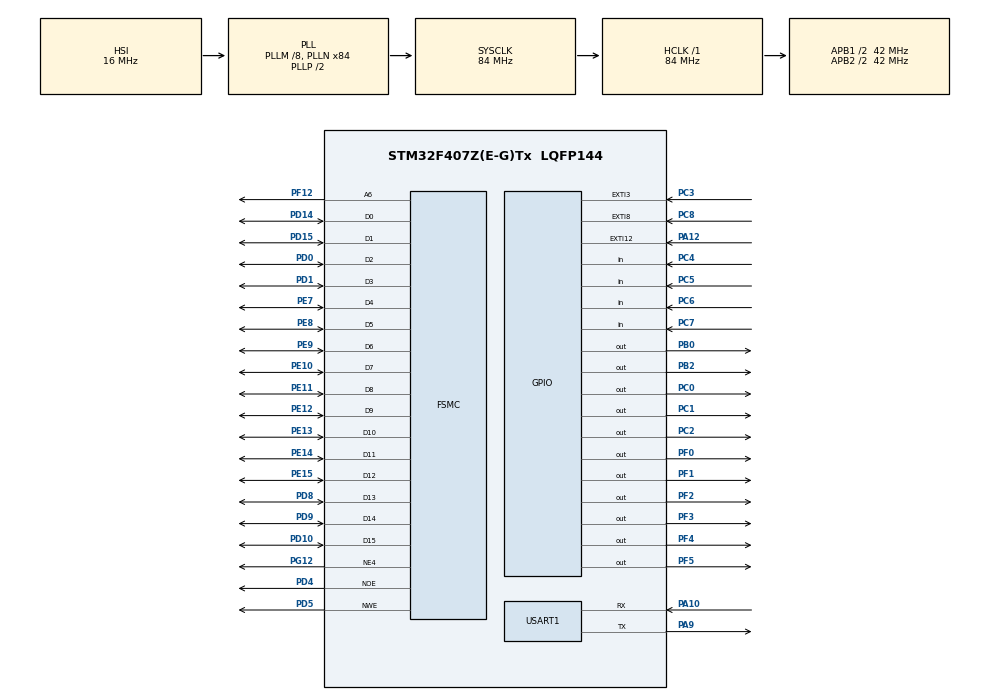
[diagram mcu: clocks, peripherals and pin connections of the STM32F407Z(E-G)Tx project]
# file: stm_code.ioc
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Mcu.Family=STM32F4
Mcu.Name=STM32F407Z(E-G)Tx
Mcu.Package=LQFP144
NVIC.EXTI15_10_IRQn=true\:0\:0\:false\:false\:true\:true\:true\:true
NVIC.EXTI3_IRQn=true\:0\:0\:false\:false\:true\:true\:true\:true
NVIC.EXTI9_5_IRQn=true\:0\:0\:false\:false\:true\:true\:true\:true
NVIC.PriorityGroup=NVIC_PRIORITYGROUP_4
NVIC.TIM4_IRQn=true\:0\:0\:false\:false\:true\:true\:true\:true
NVIC.USART1_IRQn=true\:0\:0\:false\:false\:true\:true\:true\:true
PA10.Mode=Asynchronous
PA10.Signal=USART1_RX
PA12.Signal=GPXTI12
PA9.Mode=Asynchronous
PA9.Signal=USART1_TX
PB0.Signal=GPIO_Output
PB2.Signal=GPIO_Output
PC0.Signal=GPIO_Output
PC1.Signal=GPIO_Output
PC14-OSC32_IN.Mode=LSE-External-Oscillator
PC14-OSC32_IN.Signal=RCC_OSC32_IN
PC15-OSC32_OUT.Mode=LSE-External-Oscillator
PC15-OSC32_OUT.Signal=RCC_OSC32_OUT
PC2.Signal=GPIO_Output
PC3.Signal=GPXTI3
PC4.Signal=GPIO_Input
PC5.Signal=GPIO_Input
PC6.Signal=GPIO_Input
PC7.Signal=GPIO_Input
PC8.Signal=GPXTI8
PD0.Signal=FSMC_D2_DA2
PD1.Signal=FSMC_D3_DA3
PD10.Signal=FSMC_D15_DA15
PD14.Signal=FSMC_D0_DA0
PD15.Signal=FSMC_D1_DA1
PD4.Signal=FSMC_NOE
PD5.Signal=FSMC_NWE
PD8.Signal=FSMC_D13_DA13
PD9.Signal=FSMC_D14_DA14
PE10.Signal=FSMC_D7_DA7
PE11.Signal=FSMC_D8_DA8
PE12.Signal=FSMC_D9_DA9
PE13.Signal=FSMC_D10_DA10
PE14.Signal=FSMC_D11_DA11
PE15.Signal=FSMC_D12_DA12
PE7.Signal=FSMC_D4_DA4
PE8.Signal=FSMC_D5_DA5
PE9.Signal=FSMC_D6_DA6
PF0.Signal=GPIO_Output
PF1.Signal=GPIO_Output
PF12.Signal=FSMC_A6
PF2.Signal=GPIO_Output
PF3.Signal=GPIO_Output
PF4.Signal=GPIO_Output
PF5.Signal=GPIO_Output
PG12.Mode=NorPsramChipSelect4_1
PG12.Signal=FSMC_NE4
PH0-OSC_IN.Mode=HSE-External-Oscillator
PH0-OSC_IN.Signal=RCC_OSC_IN
PH1-OSC_OUT.Mode=HSE-External-Oscillator
PH1-OSC_OUT.Signal=RCC_OSC_OUT
ProjectManager.HeapSize=0x200
ProjectManager.StackSize=0x400
ProjectManager.TargetToolchain=Makefile
RCC.48MHZClocksFreq_Value=42000000
RCC.AHBFreq_Value=84000000
RCC.APB1CLKDivider=RCC_HCLK_DIV2
RCC.APB1Freq_Value=42000000
RCC.APB1TimFreq_Value=84000000
RCC.APB2CLKDivider=RCC_HCLK_DIV2
RCC.APB2Freq_Value=42000000
RCC.APB2TimFreq_Value=84000000
RCC.CortexFreq_Value=84000000
RCC.HCLKFreq_Value=84000000
RCC.HSE_VALUE=25000000
RCC.HSI_VALUE=16000000
RCC.PLLM=8
RCC.PLLN=84
RCC.SYSCLKFreq_VALUE=84000000
RCC.SYSCLKSource=RCC_SYSCLKSOURCE_PLLCLK
RCC.VCOOutputFreq_Value=168000000
SH.FSMC_A6.0=FSMC_A6,A6_1
SH.FSMC_D0_DA0.0=FSMC_D0,16b-d1
SH.FSMC_D10_DA10.0=FSMC_D10,16b-d1
SH.FSMC_D11_DA11.0=FSMC_D11,16b-d1
SH.FSMC_D12_DA12.0=FSMC_D12,16b-d1
SH.FSMC_D13_DA13.0=FSMC_D13,16b-d1
SH.FSMC_D14_DA14.0=FSMC_D14,16b-d1
SH.FSMC_D15_DA15.0=FSMC_D15,16b-d1
SH.FSMC_D1_DA1.0=FSMC_D1,16b-d1
SH.FSMC_D2_DA2.0=FSMC_D2,16b-d1
SH.FSMC_D3_DA3.0=FSMC_D3,16b-d1
SH.FSMC_D4_DA4.0=FSMC_D4,16b-d1
SH.FSMC_D5_DA5.0=FSMC_D5,16b-d1
SH.FSMC_D6_DA6.0=FSMC_D6,16b-d1
SH.FSMC_D7_DA7.0=FSMC_D7,16b-d1
SH.FSMC_D8_DA8.0=FSMC_D8,16b-d1
SH.FSMC_D9_DA9.0=FSMC_D9,16b-d1
SH.FSMC_NOE.0=FSMC_NOE,Lcd1
SH.FSMC_NWE.0=FSMC_NWE,Lcd1
USART1.VirtualMode=VM_ASYNC
VP_TIM4_VS_ClockSourceINT.Mode=Internal
board=custom

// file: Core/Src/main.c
/* USER CODE BEGIN Header */
/**
  ******************************************************************************
  * @file           : main.c
  * @brief          : Main program body
  ******************************************************************************
  * @attention
  *
  * Copyright (c) 2025 STMicroelectronics.
  * All rights reserved.
  *
  * This software is licensed under terms that can be found in the LICENSE file
  * in the root directory of this software component.
  * If no LICENSE file comes with this software, it is provided AS-IS.
  *
  ******************************************************************************
  */
/* USER CODE END Header */
#include "main.h"

/* USER CODE BEGIN Includes */
#include <stdio.h>
#include <string.h>
#include <stdbool.h>
#include <stdarg.h>
#include "lcd.h"
#include "seg7.h"
#include "fpga_comm.h"
/* USER CODE END Includes */

/* USER CODE BEGIN PTD */
typedef enum {
    SYS_STATE_IDLE = 0,
    SYS_STATE_WAIT_HANDSHAKE,
    SYS_STATE_RECEIVING,
    SYS_STATE_DISPLAY_READY,
    SYS_STATE_FPGA_PROCESSING,
    SYS_STATE_RESULT_READY
} System_State_t;
/* USER CODE END PTD */

/* USER CODE BEGIN PD */
#define DIGIT_SIZE 784  // 28x28 pixels
#define PACKED_SIZE 98  // 784 pixels / 4 pixels per nibble / 2 nibbles per byte = 98 bytes
#define HEX_STRING_SIZE (PACKED_SIZE * 2)  // 196 hex characters (2 chars per byte)
#define UART_BUFFER_SIZE 1024
/* USER CODE END PD */

/* USER CODE BEGIN PM */
#ifdef __GNUC__
#define PUTCHAR_PROTOTYPE int __io_putchar(int ch)
#else
#define PUTCHAR_PROTOTYPE int fputc(int ch, FILE *f)
#endif
/* USER CODE END PM */

TIM_HandleTypeDef htim4;

UART_HandleTypeDef huart1;

SRAM_HandleTypeDef hsram1;

/* USER CODE BEGIN PV */
static uint8_t digit_data[DIGIT_SIZE];
static uint8_t packed_buffer[PACKED_SIZE];
static System_State_t system_state = SYS_STATE_IDLE;
static bool button_pressed = false;
static uint8_t uart_rx_byte;
static char hex_string_buffer[HEX_STRING_SIZE + 10];  // +10 for \r\n and safety
static uint16_t hex_string_index = 0;
/* USER CODE END PV */

void SystemClock_Config(void);
static void MX_GPIO_Init(void);
static void MX_FSMC_Init(void);
static void MX_TIM4_Init(void);
static void MX_USART1_UART_Init(void);
/* USER CODE BEGIN PFP */
void UART_Printf(const char *format, ...);
void UnpackDigitData(const uint8_t *packed_data, uint8_t *digit_data);
void ProcessReceivedData(void);
void StartFPGAProcessing(void);
uint8_t HexCharToValue(char c);
void ParseHexString(const char *hex_str, uint8_t *output, uint16_t output_size);
void ProcessUARTByte(uint8_t byte);
/* USER CODE END PFP */

/* USER CODE BEGIN 0 */

/**
  * @brief  Retargets the C library printf function to the USART.
  */
PUTCHAR_PROTOTYPE
{
    HAL_UART_Transmit(&huart1, (uint8_t *)&ch, 1, 0xFFFF);
    return ch;
}

/**
  * @brief  UART printf wrapper
  */
void UART_Printf(const char *format, ...)
{
    char buffer[256];
    va_list args;
    va_start(args, format);
    vsnprintf(buffer, sizeof(buffer), format, args);
    va_end(args);
    HAL_UART_Transmit(&huart1, (uint8_t *)buffer, strlen(buffer), 1000);
}

/**
  * @brief  Unpack 4-bits-per-nibble packed data to 1-byte-per-pixel format
  * @param  packed_data: Pointer to packed data (98 bytes)
  * @param  digit_data: Pointer to unpacked data buffer (784 bytes)
  */
void UnpackDigitData(const uint8_t *packed_data, uint8_t *digit_data)
{
    // Unpack 98 bytes to 784 bytes
    // Each byte contains 2 nibbles, each nibble contains 4 pixels
    for(uint16_t i = 0; i < PACKED_SIZE; i++)
    {
        uint8_t byte_val = packed_data[i];

        // Extract high nibble (4 pixels)
        uint8_t high_nibble = (byte_val >> 4) & 0x0F;
        for(uint8_t j = 0; j < 4; j++)
        {
            uint16_t pixel_idx = i * 8 + j;
            if(pixel_idx < DIGIT_SIZE)
            {
                digit_data[pixel_idx] = (high_nibble >> (3 - j)) & 0x01;
            }
        }

        // Extract low nibble (4 pixels)
        uint8_t low_nibble = byte_val & 0x0F;
        for(uint8_t j = 0; j < 4; j++)
        {
            uint16_t pixel_idx = i * 8 + 4 + j;
            if(pixel_idx < DIGIT_SIZE)
            {
                digit_data[pixel_idx] = (low_nibble >> (3 - j)) & 0x01;
            }
        }
    }
}

/**
  * @brief  Convert hex character to value
  */
uint8_t HexCharToValue(char c)
{
    if(c >= '0' && c <= '9')
        return c - '0';
    else if(c >= 'A' && c <= 'F')
        return c - 'A' + 10;
    else if(c >= 'a' && c <= 'f')
        return c - 'a' + 10;
    return 0;
}

/**
  * @brief  Parse hex string to binary data
  */
void ParseHexString(const char *hex_str, uint8_t *output, uint16_t output_size)
{
    for(uint16_t i = 0; i < output_size && i * 2 + 1 < strlen(hex_str); i++)
    {
        uint8_t high = HexCharToValue(hex_str[i * 2]);
        uint8_t low = HexCharToValue(hex_str[i * 2 + 1]);
        output[i] = (high << 4) | low;
    }
}

/**
  * @brief  Process UART byte by byte
  */
void ProcessUARTByte(uint8_t byte)
{
    switch(system_state)
    {
        case SYS_STATE_IDLE:
            // Looking for handshake 'Q'
            if(byte == 'Q')
            {
                UART_Printf("[HANDSHAKE] Received 'Q'\r\n");
                UART_Printf("A\r\n");  // Send acknowledgment
                system_state = SYS_STATE_WAIT_HANDSHAKE;
                hex_string_index = 0;
                memset(hex_string_buffer, 0, sizeof(hex_string_buffer));
            }
            // Ignore other bytes in IDLE state
            break;

        case SYS_STATE_WAIT_HANDSHAKE:
            // Waiting for hex string data terminated by \r\n
            if(byte == '\r' || byte == '\n')
            {
                // Check if we have enough data (only process when we have data)
                if(hex_string_index > 0)
                {
                    if(hex_string_index >= HEX_STRING_SIZE)
                    {
                        // Null-terminate the string
                        hex_string_buffer[hex_string_index] = '\0';

                        // Parse hex string to packed binary data
                        UART_Printf("[DATA] Received %d hex chars\r\n", hex_string_index);
                        ParseHexString(hex_string_buffer, packed_buffer, PACKED_SIZE);

                        // Unpack data from 4-bits-per-nibble to 1-byte-per-pixel
                        UART_Printf("[DATA] Unpacking data...\r\n");
                        UnpackDigitData(packed_buffer, digit_data);
                        UART_Printf("[DATA] Unpacked to %d pixels\r\n", DIGIT_SIZE);

                        // Display on LCD
                        UART_Printf("[LCD] Displaying digit on LCD...\r\n");
                        LCD_DisplayDigit(digit_data);

                        // Update system state
                        system_state = SYS_STATE_DISPLAY_READY;

                        UART_Printf("[INFO] Display complete. Press button to send to FPGA\r\n");
                    }
                    else
                    {
                        UART_Printf("[ERROR] Incomplete hex string: %d chars (expected %d)\r\n",
                                    hex_string_index, HEX_STRING_SIZE);
                        system_state = SYS_STATE_IDLE;
                    }
                    hex_string_index = 0;
                }
                // Ignore empty \r\n (from handshake)
            }
            else if(hex_string_index < sizeof(hex_string_buffer) - 1)
            {
                // Store valid hex characters only
                if((byte >= '0' && byte <= '9') ||
                   (byte >= 'A' && byte <= 'F') ||
                   (byte >= 'a' && byte <= 'f'))
                {
                    hex_string_buffer[hex_string_index++] = (char)byte;
                }
                else
                {
                    // Ignore invalid characters (space, etc.)
                }
            }
            break;

        case SYS_STATE_DISPLAY_READY:
        case SYS_STATE_FPGA_PROCESSING:
        case SYS_STATE_RESULT_READY:
            // Ignore UART data while processing or displaying results
            break;

        default:
            // Unknown state - reset to IDLE
            system_state = SYS_STATE_IDLE;
            break;
    }
}

/**
  * @brief  Process received UART data (legacy function - now handled in ProcessUARTByte)
  */
void ProcessReceivedData(void)
{
    // This function is now deprecated - processing happens in ProcessUARTByte
}

/**
  * @brief  Start FPGA processing
  */
void StartFPGAProcessing(void)
{
    if(system_state == SYS_STATE_DISPLAY_READY)
    {
        UART_Printf("[INFO] Button pressed! Starting FPGA processing...\r\n");

        // Print FPGA status before starting
        FPGA_PrintDetailedStatus();

        // Set FPGA data
        FPGA_SetData(digit_data);

        // Start sending to FPGA
        FPGA_StartSend(digit_data, DIGIT_SIZE);

        // Update state
        system_state = SYS_STATE_FPGA_PROCESSING;

        UART_Printf("[INFO] Sending data to FPGA...\r\n");
        UART_Printf("[INFO] Data transmission started (784 bits at 500Hz = ~1.6 seconds)\r\n");
    }
}

/* USER CODE END 0 */

int main(void)
{

  /* MCU Configuration--------------------------------------------------------*/

  /* Reset of all peripherals, Initializes the Flash interface and the Systick. */
  HAL_Init();

  /* Configure the system clock */
  SystemClock_Config();

  /* Initialize all configured peripherals */
  MX_GPIO_Init();
  MX_FSMC_Init();
  MX_TIM4_Init();
  MX_USART1_UART_Init();
  /* USER CODE BEGIN 2 */

  // Initialize modules
  UART_Printf("\r\n=== Handwriting Recognition System ===\r\n");
  UART_Printf("[INFO] Initializing...\r\n");

  // Test backlight GPIO directly first (ACTIVE-LOW for PNP/P-MOS)
  UART_Printf("[INFO] Testing backlight GPIO (PB0)...\r\n");
  HAL_GPIO_WritePin(GPIOB, GPIO_PIN_0, GPIO_PIN_RESET);
  UART_Printf("[INFO] Backlight ON (PB0=LOW, active-low)\r\n");
  HAL_Delay(500);

  // Initialize LCD
  UART_Printf("[INFO] Initializing LCD controller...\r\n");
  LCD_Init();
  UART_Printf("[INFO] LCD controller initialized\r\n");

  UART_Printf("[INFO] Drawing test pattern...\r\n");
  LCD_DisplayTestPattern();  // Show 28x28 checkerboard test pattern
  UART_Printf("[INFO] LCD initialized with test pattern\r\n");
  UART_Printf("[INFO] If screen is black, check:\r\n");
  UART_Printf("[INFO]   - PB0 should be LOW (0V) for backlight ON\r\n");
  UART_Printf("[INFO]   - LCD power supply (VDD and LED+)\r\n");
  UART_Printf("[INFO]   - FSMC connections\r\n");

  // Initialize 7-segment display
  SEG7_Init();
  SEG7_AllOn();  // Display all 8s on startup
  UART_Printf("[INFO] 7-segment display initialized (all on)\r\n");

  // Initialize FPGA interface
  FPGA_Init();
  UART_Printf("[INFO] FPGA interface initialized\r\n");

  // Configure TIM4 for 500Hz (period = 1/500 = 2ms)
  // TIM4 clock = 84MHz (APB1 * 2)
  // Prescaler = 84-1 (1MHz)
  // Period = 2000-1 (500Hz)
  htim4.Init.Prescaler = 84 - 1;
  htim4.Init.Period = 2000 - 1;
  if (HAL_TIM_Base_Init(&htim4) != HAL_OK)
  {
    Error_Handler();
  }

  // Start TIM4 interrupt
  HAL_TIM_Base_Start_IT(&htim4);
  UART_Printf("[INFO] Timer started at 500Hz\r\n");

  // Start UART receive interrupt
  if(HAL_UART_Receive_IT(&huart1, &uart_rx_byte, 1) == HAL_OK)
  {
      UART_Printf("[INFO] UART interrupt started successfully\r\n");
  }
  else
  {
      UART_Printf("[ERROR] Failed to start UART interrupt!\r\n");
  }

  UART_Printf("\r\n=== System Ready ===\r\n");
  UART_Printf("[INFO] UART: 115200 baud, 8N1\r\n");
  UART_Printf("[INFO] Protocol:\r\n");
  UART_Printf("  1. Send 'Q\\r\\n' to initiate handshake\r\n");
  UART_Printf("  2. Wait for 'A\\r\\n' acknowledgment\r\n");
  UART_Printf("  3. Send %d hex chars (packed data) + \\r\\n\r\n", HEX_STRING_SIZE);
  UART_Printf("[INFO] Waiting for data...\r\n\r\n");

  /* USER CODE END 2 */

  /* Infinite loop */
  /* USER CODE BEGIN WHILE */
  uint32_t last_fpga_status_print = 0;
  uint32_t fpga_send_start_time = 0;
  bool fpga_sending_logged = false;

  while (1)
  {
    /* USER CODE END WHILE */

    /* USER CODE BEGIN 3 */

    // Refresh 7-segment display
    SEG7_Refresh();
    HAL_Delay(1);

    // Check FPGA state
    if(system_state == SYS_STATE_FPGA_PROCESSING)
    {
        FPGA_State_t fpga_state = FPGA_GetState();

        // Log when sending starts
        if(fpga_state == FPGA_STATE_SENDING && !fpga_sending_logged)
        {
            fpga_send_start_time = HAL_GetTick();
            fpga_sending_logged = true;
            UART_Printf("\r\n[FPGA] Starting data transmission...\r\n");
            FPGA_PrintIOStatus();
        }
        // Log when sending completes and computing starts
        else if(fpga_state == FPGA_STATE_COMPUTING && fpga_sending_logged)
        {
            uint32_t send_duration = HAL_GetTick() - fpga_send_start_time;
            UART_Printf("\r\n[FPGA] Data transmission complete (took %lu ms)\r\n", send_duration);
            UART_Printf("[FPGA] FPGA now computing...\r\n");
            FPGA_PrintDetailedStatus();
            fpga_sending_logged = false;
        }
        // Print status every 1 second during computing
        else if(fpga_state == FPGA_STATE_COMPUTING && (HAL_GetTick() - last_fpga_status_print > 1000))
        {
            last_fpga_status_print = HAL_GetTick();
            UART_Printf("[FPGA] Computing... ");
            FPGA_PrintIOStatus();
        }

        if(fpga_state == FPGA_STATE_COMPUTING && !FPGA_IsBusy())
        {
            // FPGA finished computing, check for result
            if(FPGA_IsResultValid())
            {
                uint8_t result = FPGA_ReadResult();

                UART_Printf("\r\n=================================\r\n");
                UART_Printf("[RESULT] Recognized digit: %d\r\n", result);
                UART_Printf("=================================\r\n\r\n");

                // Print final FPGA status
                FPGA_PrintDetailedStatus();

                // Display result on first digit of 7-segment
                SEG7_Clear();
                SEG7_SetBuffer(0, result);

                // Update LCD
                char result_str[32];
                snprintf(result_str, sizeof(result_str), "Result: %d", result);
                LCD_DrawString(10, 50, result_str, LCD_COLOR_GREEN, LCD_COLOR_WHITE);

                // Send OK to PC
                UART_Printf("OK\r\n");

                // Reset button flag
                button_pressed = false;

                // Update state - go back to IDLE for next input
                system_state = SYS_STATE_IDLE;

                UART_Printf("[INFO] Ready for next input\r\n\r\n");
            }
            else
            {
                UART_Printf("[WARNING] FPGA not busy but RESULT_VALID is LOW\r\n");
                FPGA_PrintIOStatus();
            }
        }
    }
    else
    {
        // Reset flag when not processing
        fpga_sending_logged = false;
    }

  }
  /* USER CODE END 3 */
}

void SystemClock_Config(void)
{
  RCC_OscInitTypeDef RCC_OscInitStruct = {0};
  RCC_ClkInitTypeDef RCC_ClkInitStruct = {0};

  /** Configure the main internal regulator output voltage
  */
  __HAL_RCC_PWR_CLK_ENABLE();
  __HAL_PWR_VOLTAGESCALING_CONFIG(PWR_REGULATOR_VOLTAGE_SCALE1);

  /** Initializes the RCC Oscillators according to the specified parameters
  * in the RCC_OscInitTypeDef structure.
  */
  RCC_OscInitStruct.OscillatorType = RCC_OSCILLATORTYPE_HSI;
  RCC_OscInitStruct.HSIState = RCC_HSI_ON;
  RCC_OscInitStruct.HSICalibrationValue = RCC_HSICALIBRATION_DEFAULT;
  RCC_OscInitStruct.PLL.PLLState = RCC_PLL_ON;
  RCC_OscInitStruct.PLL.PLLSource = RCC_PLLSOURCE_HSI;
  RCC_OscInitStruct.PLL.PLLM = 8;
  RCC_OscInitStruct.PLL.PLLN = 84;
  RCC_OscInitStruct.PLL.PLLP = RCC_PLLP_DIV2;
  RCC_OscInitStruct.PLL.PLLQ = 4;
  if (HAL_RCC_OscConfig(&RCC_OscInitStruct) != HAL_OK)
  {
    Error_Handler();
  }

  /** Initializes the CPU, AHB and APB buses clocks
  */
  RCC_ClkInitStruct.ClockType = RCC_CLOCKTYPE_HCLK|RCC_CLOCKTYPE_SYSCLK
                              |RCC_CLOCKTYPE_PCLK1|RCC_CLOCKTYPE_PCLK2;
  RCC_ClkInitStruct.SYSCLKSource = RCC_SYSCLKSOURCE_PLLCLK;
  RCC_ClkInitStruct.AHBCLKDivider = RCC_SYSCLK_DIV1;
  RCC_ClkInitStruct.APB1CLKDivider = RCC_HCLK_DIV2;
  RCC_ClkInitStruct.APB2CLKDivider = RCC_HCLK_DIV2;

  if (HAL_RCC_ClockConfig(&RCC_ClkInitStruct, FLASH_LATENCY_2) != HAL_OK)
  {
    Error_Handler();
  }
}

static void MX_TIM4_Init(void)
{

  TIM_ClockConfigTypeDef sClockSourceConfig = {0};
  TIM_MasterConfigTypeDef sMasterConfig = {0};

  htim4.Instance = TIM4;
  htim4.Init.Prescaler = 0;
  htim4.Init.CounterMode = TIM_COUNTERMODE_UP;
  htim4.Init.Period = 65535;
  htim4.Init.ClockDivision = TIM_CLOCKDIVISION_DIV1;
  htim4.Init.AutoReloadPreload = TIM_AUTORELOAD_PRELOAD_DISABLE;
  if (HAL_TIM_Base_Init(&htim4) != HAL_OK)
  {
    Error_Handler();
  }
  sClockSourceConfig.ClockSource = TIM_CLOCKSOURCE_INTERNAL;
  if (HAL_TIM_ConfigClockSource(&htim4, &sClockSourceConfig) != HAL_OK)
  {
    Error_Handler();
  }
  sMasterConfig.MasterOutputTrigger = TIM_TRGO_RESET;
  sMasterConfig.MasterSlaveMode = TIM_MASTERSLAVEMODE_DISABLE;
  if (HAL_TIMEx_MasterConfigSynchronization(&htim4, &sMasterConfig) != HAL_OK)
  {
    Error_Handler();
  }

}

static void MX_USART1_UART_Init(void)
{

  huart1.Instance = USART1;
  huart1.Init.BaudRate = 115200;
  huart1.Init.WordLength = UART_WORDLENGTH_8B;
  huart1.Init.StopBits = UART_STOPBITS_1;
  huart1.Init.Parity = UART_PARITY_NONE;
  huart1.Init.Mode = UART_MODE_TX_RX;
  huart1.Init.HwFlowCtl = UART_HWCONTROL_NONE;
  huart1.Init.OverSampling = UART_OVERSAMPLING_16;
  if (HAL_UART_Init(&huart1) != HAL_OK)
  {
    Error_Handler();
  }

}

static void MX_GPIO_Init(void)
{
  GPIO_InitTypeDef GPIO_InitStruct = {0};

  /* GPIO Ports Clock Enable */
  __HAL_RCC_GPIOC_CLK_ENABLE();
  __HAL_RCC_GPIOF_CLK_ENABLE();
  __HAL_RCC_GPIOH_CLK_ENABLE();
  __HAL_RCC_GPIOB_CLK_ENABLE();
  __HAL_RCC_GPIOE_CLK_ENABLE();
  __HAL_RCC_GPIOD_CLK_ENABLE();
  __HAL_RCC_GPIOA_CLK_ENABLE();
  __HAL_RCC_GPIOG_CLK_ENABLE();

  /*Configure GPIO pin Output Level */
  HAL_GPIO_WritePin(GPIOF, GPIO_PIN_0|GPIO_PIN_1|GPIO_PIN_2|GPIO_PIN_3
                          |GPIO_PIN_4|GPIO_PIN_5, GPIO_PIN_RESET);

  /*Configure GPIO pin Output Level */
  HAL_GPIO_WritePin(GPIOC, GPIO_PIN_0|GPIO_PIN_1|GPIO_PIN_2, GPIO_PIN_RESET);

  /*Configure GPIO pin Output Level */
  HAL_GPIO_WritePin(GPIOB, GPIO_PIN_0|GPIO_PIN_2, GPIO_PIN_RESET);

  /*Configure GPIO pins : PF0 PF1 PF2 PF3
                           PF4 PF5 */
  GPIO_InitStruct.Pin = GPIO_PIN_0|GPIO_PIN_1|GPIO_PIN_2|GPIO_PIN_3
                          |GPIO_PIN_4|GPIO_PIN_5;
  GPIO_InitStruct.Mode = GPIO_MODE_OUTPUT_PP;
  GPIO_InitStruct.Pull = GPIO_NOPULL;
  GPIO_InitStruct.Speed = GPIO_SPEED_FREQ_LOW;
  HAL_GPIO_Init(GPIOF, &GPIO_InitStruct);

  /*Configure GPIO pins : PC0 PC1 PC2 */
  GPIO_InitStruct.Pin = GPIO_PIN_0|GPIO_PIN_1|GPIO_PIN_2;
  GPIO_InitStruct.Mode = GPIO_MODE_OUTPUT_PP;
  GPIO_InitStruct.Pull = GPIO_NOPULL;
  GPIO_InitStruct.Speed = GPIO_SPEED_FREQ_LOW;
  HAL_GPIO_Init(GPIOC, &GPIO_InitStruct);

  /*Configure GPIO pins : PC3 PC8 */
  GPIO_InitStruct.Pin = GPIO_PIN_3|GPIO_PIN_8;
  GPIO_InitStruct.Mode = GPIO_MODE_IT_RISING;
  GPIO_InitStruct.Pull = GPIO_NOPULL;
  HAL_GPIO_Init(GPIOC, &GPIO_InitStruct);

  /*Configure GPIO pins : PC4 PC5 PC6 PC7 */
  GPIO_InitStruct.Pin = GPIO_PIN_4|GPIO_PIN_5|GPIO_PIN_6|GPIO_PIN_7;
  GPIO_InitStruct.Mode = GPIO_MODE_INPUT;
  GPIO_InitStruct.Pull = GPIO_NOPULL;
  HAL_GPIO_Init(GPIOC, &GPIO_InitStruct);

  /*Configure GPIO pins : PB0 PB2 */
  GPIO_InitStruct.Pin = GPIO_PIN_0|GPIO_PIN_2;
  GPIO_InitStruct.Mode = GPIO_MODE_OUTPUT_PP;
  GPIO_InitStruct.Pull = GPIO_NOPULL;
  GPIO_InitStruct.Speed = GPIO_SPEED_FREQ_LOW;
  HAL_GPIO_Init(GPIOB, &GPIO_InitStruct);

  /*Configure GPIO pin : PA12 */
  GPIO_InitStruct.Pin = GPIO_PIN_12;
  GPIO_InitStruct.Mode = GPIO_MODE_IT_RISING;
  GPIO_InitStruct.Pull = GPIO_NOPULL;
  HAL_GPIO_Init(GPIOA, &GPIO_InitStruct);

  /* EXTI interrupt init*/
  HAL_NVIC_SetPriority(EXTI3_IRQn, 0, 0);
  HAL_NVIC_EnableIRQ(EXTI3_IRQn);

  HAL_NVIC_SetPriority(EXTI9_5_IRQn, 0, 0);
  HAL_NVIC_EnableIRQ(EXTI9_5_IRQn);

  HAL_NVIC_SetPriority(EXTI15_10_IRQn, 0, 0);
  HAL_NVIC_EnableIRQ(EXTI15_10_IRQn);

}

/* FSMC initialization function */
static void MX_FSMC_Init(void)
{

  FSMC_NORSRAM_TimingTypeDef Timing = {0};

  /** Perform the SRAM1 memory initialization sequence
  */
  hsram1.Instance = FSMC_NORSRAM_DEVICE;
  hsram1.Extended = FSMC_NORSRAM_EXTENDED_DEVICE;
  /* hsram1.Init */
  hsram1.Init.NSBank = FSMC_NORSRAM_BANK4;
  hsram1.Init.DataAddressMux = FSMC_DATA_ADDRESS_MUX_DISABLE;
  hsram1.Init.MemoryType = FSMC_MEMORY_TYPE_SRAM;
  hsram1.Init.MemoryDataWidth = FSMC_NORSRAM_MEM_BUS_WIDTH_16;
  hsram1.Init.BurstAccessMode = FSMC_BURST_ACCESS_MODE_DISABLE;
  hsram1.Init.WaitSignalPolarity = FSMC_WAIT_SIGNAL_POLARITY_LOW;
  hsram1.Init.WrapMode = FSMC_WRAP_MODE_DISABLE;
  hsram1.Init.WaitSignalActive = FSMC_WAIT_TIMING_BEFORE_WS;
  hsram1.Init.WriteOperation = FSMC_WRITE_OPERATION_ENABLE;
  hsram1.Init.WaitSignal = FSMC_WAIT_SIGNAL_DISABLE;
  hsram1.Init.ExtendedMode = FSMC_EXTENDED_MODE_DISABLE;
  hsram1.Init.AsynchronousWait = FSMC_ASYNCHRONOUS_WAIT_DISABLE;
  hsram1.Init.WriteBurst = FSMC_WRITE_BURST_DISABLE;
  hsram1.Init.PageSize = FSMC_PAGE_SIZE_NONE;
  /* Timing */
  Timing.AddressSetupTime = 15;
  Timing.AddressHoldTime = 15;
  Timing.DataSetupTime = 255;
  Timing.BusTurnAroundDuration = 15;
  Timing.CLKDivision = 16;
  Timing.DataLatency = 17;
  Timing.AccessMode = FSMC_ACCESS_MODE_A;
  /* ExtTiming */

  if (HAL_SRAM_Init(&hsram1, &Timing, NULL) != HAL_OK)
  {
    Error_Handler( );
  }

}

/* USER CODE BEGIN 4 */

/**
  * @brief  Timer period elapsed callback
  * @param  htim: TIM handle
  */
void HAL_TIM_PeriodElapsedCallback(TIM_HandleTypeDef *htim)
{
    if(htim->Instance == TIM4)
    {
        // Called at 500Hz - provide clock to FPGA
        FPGA_ClockTick();
    }
}

/**
  * @brief  UART receive complete callback
  * @param  huart: UART handle
  */
void HAL_UART_RxCpltCallback(UART_HandleTypeDef *huart)
{
    if(huart->Instance == USART1)
    {
        // Process received byte according to protocol
        ProcessUARTByte(uart_rx_byte);

        // Re-enable UART interrupt for next byte
        HAL_UART_Receive_IT(&huart1, &uart_rx_byte, 1);
    }
}

/**
  * @brief  GPIO external interrupt callback
  * @param  GPIO_Pin: GPIO pin number
  */
void HAL_GPIO_EXTI_Callback(uint16_t GPIO_Pin)
{
    if(GPIO_Pin == GPIO_PIN_12)  // PA12 - Button (hardware debounced, active high)
    {
        UART_Printf("\r\n[IRQ] Button pressed!\r\n");
        UART_Printf("[IRQ] Current state=%d (DISPLAY_READY=%d), button_pressed=%d\r\n",
                   system_state, SYS_STATE_DISPLAY_READY, button_pressed);

        // Button is hardware debounced and active high
        if(system_state == SYS_STATE_DISPLAY_READY && !button_pressed)
        {
            UART_Printf("[IRQ] Starting FPGA processing...\r\n");
            button_pressed = true;
            StartFPGAProcessing();
        }
        else
        {
            UART_Printf("[IRQ] Ignored - wrong state or already pressed\r\n");
        }
    }
    else if(GPIO_Pin == GPIO_PIN_8)  // PC8 - FPGA BUSY (rising edge)
    {
        UART_Printf("\r\n[IRQ] BUSY=1 detected! Starting data transmission...\r\n");

        // Switch to SENDING state to start transmitting data
        extern FPGA_State_t FPGA_GetState(void);
        extern void FPGA_SetState(FPGA_State_t state);

        // Get current state from FPGA module
        FPGA_State_t current_state = FPGA_GetState();

        if(current_state == FPGA_STATE_IDLE)
        {
            // Start sending data on next clock cycle
            FPGA_SetState(FPGA_STATE_SENDING);
            UART_Printf("[IRQ] State changed to SENDING, data transmission will begin\r\n");
            FPGA_PrintIOStatus();
        }
    }
    else if(GPIO_Pin == GPIO_PIN_3)  // PC3 - FPGA RESULT_VALID (rising edge)
    {
        UART_Printf("\r\n[IRQ] RESULT_VALID=1 detected! Reading result...\r\n");

        // Read result from PC4-PC7
        uint32_t port_value = GPIOC->IDR;
        uint8_t result = (port_value >> 4) & 0x0F;

        UART_Printf("[IRQ] Result bits from PC4-PC7:\r\n");
        UART_Printf("[IRQ]   PC4 (bit 0): %d\r\n", (port_value >> 4) & 0x01);
        UART_Printf("[IRQ]   PC5 (bit 1): %d\r\n", (port_value >> 5) & 0x01);
        UART_Printf("[IRQ]   PC6 (bit 2): %d\r\n", (port_value >> 6) & 0x01);
        UART_Printf("[IRQ]   PC7 (bit 3): %d\r\n", (port_value >> 7) & 0x01);
        UART_Printf("[IRQ]   Result: 0x%X (decimal: %d)\r\n", result, result);

        // Stop clock and read result
        uint8_t fpga_result = FPGA_ReadResult();
        UART_Printf("[IRQ] Clock stopped, final result: %d\r\n", fpga_result);

        // Display result on 7-segment display digit 0, clear others
        SEG7_Clear();  // Clear all digits first
        SEG7_WriteDigit(0, fpga_result);  // Display result on first digit
        UART_Printf("[IRQ] Result %d displayed on 7-segment digit 0\r\n", fpga_result);

        // Reset system state to IDLE to prepare for next image
        system_state = SYS_STATE_IDLE;
        button_pressed = false;
        UART_Printf("[IRQ] System reset to IDLE state, ready for next image\r\n");
        UART_Printf("=====================================\r\n\r\n");
    }
}

/* USER CODE END 4 */

void Error_Handler(void)
{
  __disable_irq();
  while (1)
  {
  }
}
